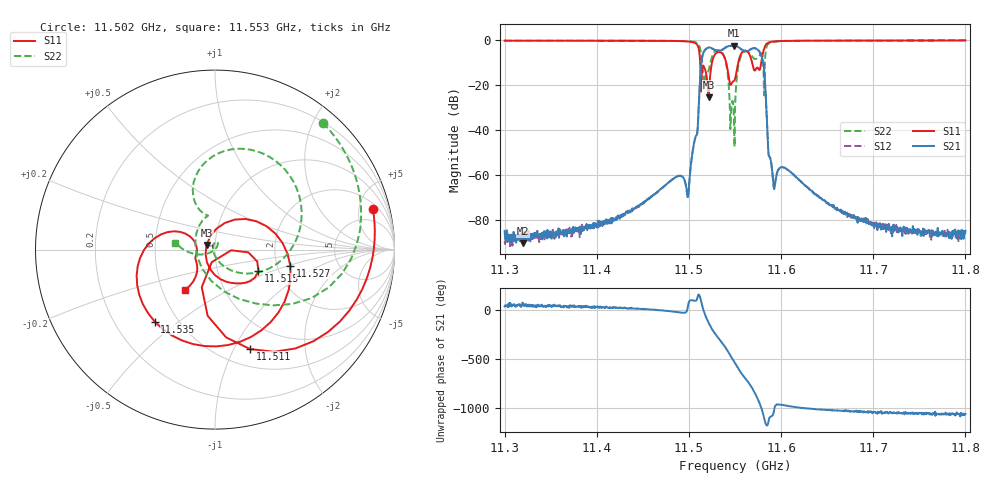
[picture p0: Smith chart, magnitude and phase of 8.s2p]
# Hz S DB R 50
! Planar, S50244, 24171007, 25.4.1/6
! Date: 15.10.2025 10:26:31
! Data: Format (Calibration Info)
! Freq	S11:dB/Ang(F2)	S21:dB/Ang(F2)	S12:dB/Ang(F2)	S22:dB/Ang(F2)
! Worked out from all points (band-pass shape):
!   1001 points, 11.3 GHz to 11.8 GHz, reference 50 ohm
!   highest |S21| = -2.57 dB at 11.549 GHz (marker M1); lowest = -90.2 dB at 11.319 GHz (marker M2)
!   |S21| within 3 dB of the highest: 11.516 GHz to 11.577 GHz (61.3 MHz wide, 0.531 % of centre)
!   lowest |S11| = -25.4 dB at 11.521 GHz (marker M3), VSWR 1.11, Z = 45.5 + j2.38 ohm
!   |S11| at or under -10 dB: 11.51216 GHz to 11.52502 GHz (12.86 MHz wide, 0.112 % of centre); 11.54043 GHz to 11.55355 GHz (13.12 MHz wide, 0.114 % of centre); 11.56852 GHz to 11.57841 GHz (9.898 MHz wide, 0.0855 % of centre)
!   |S22| runs from -47.3 to -0.2 dB; largest |S21 - S12| = 0.017
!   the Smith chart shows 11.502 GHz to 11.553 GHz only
!   S11 on the Smith chart (normalised r, x): 11.502 GHz: 2.63, +6.86; 11.511 GHz: 0.69, -1.16; 11.515 GHz: 1.57, -0.40; 11.527 GHz: 2.37, -0.51; 11.535 GHz: 0.37, -0.41; 11.553 GHz: 0.65, -0.32
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1.13e10  -0.32 144.9  -84.61 34.7  -89.35 45.0  -0.31 143.4
1.13195e10  -0.32 141.1  -90.17 73.2  -88.96 55.5  -0.31 140.0
1.13835e10  -0.33 126.2  -83.54 39.6  -82.88 26.1  -0.31 126.9
1.1467e10  -0.37 86.4  -66.92 -3.6  -66.92 -3.3  -0.33 96.1
1.15025e10  -0.83 14.5  -53.98 97.5  -54.15 97.9  -0.65 49.6
1.1511e10  -4.62 -70.5  -26.36 152.2  -26.27 153.3  -2.37 -3.7
1.1515e10  -11.40 -26.1  -6.57 20.9  -6.62 20.5  -12.46 -77.8
1.15215e10  -25.43 150.9  -3.35 -134.3  -3.37 -134.2  -13.33 108.3
1.1527e10  -7.36 -12.0  -4.17 135.6  -4.33 136.3  -5.70 91.6
1.1535e10  -5.63 -129.9  -4.67 37.2  -4.52 38.4  -5.09 32.5
1.1543e10  -15.93 152.1  -2.72 -73.0  -2.66 -73.5  -18.97 -60.2
1.15485e10  -18.24 -151.3  -2.57 -157.6  -2.56 -157.7  -30.68 59.2
1.155e10  -17.31 -136.7  -2.59 179.1  -2.60 179.1  -31.15 -147.3
1.1553e10  -11.06 -126.6  -2.96 132.1  -3.00 132.4  -13.02 170.4
1.1562e10  -4.79 152.4  -5.00 13.9  -4.86 14.3  -5.03 59.9
1.15695e10  -11.72 24.8  -3.70 -89.8  -3.66 -90.2  -7.73 -10.2
1.1574e10  -12.27 -140.1  -4.14 -171.5  -4.01 -171.5  -8.10 -31.0
1.1579e10  -8.45 5.5  -7.43 71.2  -7.51 70.1  -5.99 -75.3
1.15925e10  -0.64 -140.5  -66.06 66.7  -66.04 67.1  -0.77 -116.9
1.16335e10  -0.31 161.8  -66.89 73.5  -67.18 74.1  -0.31 166.5
1.1717e10  -0.25 130.1  -81.49 35.6  -83.18 28.0  -0.24 130.3
1.18e10  -0.22 112.7  -84.61 23.6  -86.10 17.5  -0.21 112.5
